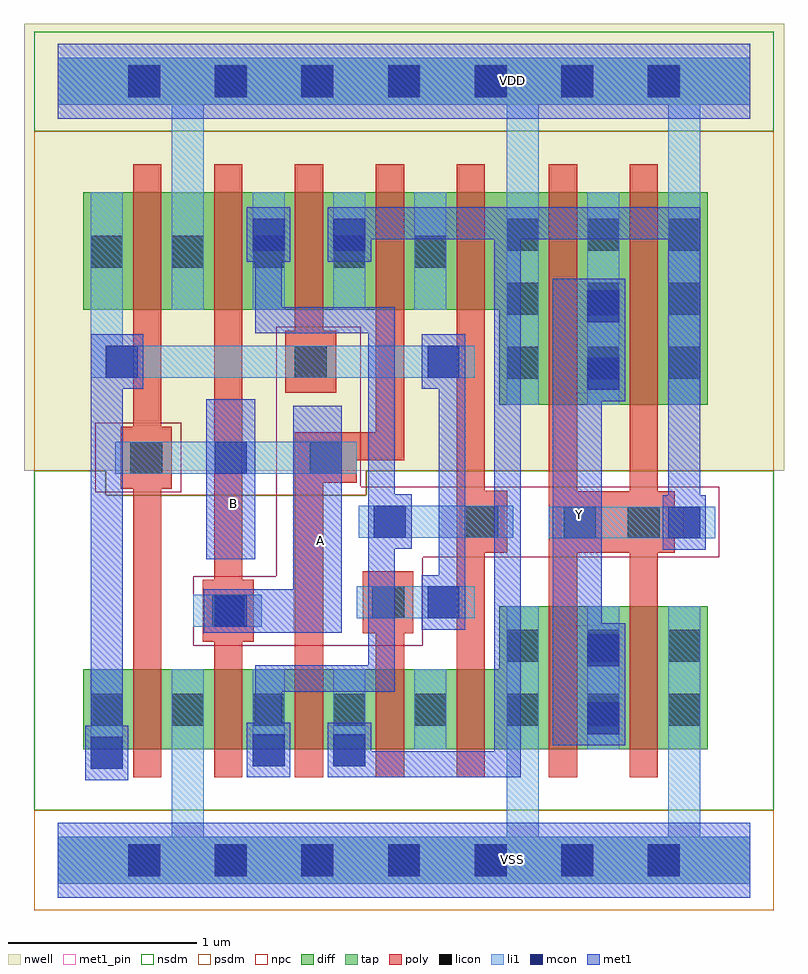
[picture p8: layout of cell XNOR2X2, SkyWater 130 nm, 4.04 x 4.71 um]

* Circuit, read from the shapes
.subckt XNOR2X2 A B VDD VSS Y
XM1 VSS B n1 VSS sky130_fd_pr__nfet_01v8 w=0.425 l=0.15
XM2 n2 A VSS VSS sky130_fd_pr__nfet_01v8 w=0.425 l=0.15
XM3 n3 B n2 VSS sky130_fd_pr__nfet_01v8 w=0.425 l=0.15
XM4 n4 n1 n3 VSS sky130_fd_pr__nfet_01v8 w=0.425 l=0.15
XM5 VSS n2 n4 VSS sky130_fd_pr__nfet_01v8 w=0.425 l=0.15
XM6 Y n3 VSS VSS sky130_fd_pr__nfet_01v8 w=0.76 l=0.15 m=2
XM7 VDD B n1 VDD sky130_fd_pr__pfet_01v8 w=0.625 l=0.15
XM8 n2 A VDD VDD sky130_fd_pr__pfet_01v8 w=0.625 l=0.15
XM9 n3 n1 n2 VDD sky130_fd_pr__pfet_01v8 w=0.625 l=0.15
XM10 n5 B n3 VDD sky130_fd_pr__pfet_01v8 w=0.625 l=0.15
XM11 VDD n2 n5 VDD sky130_fd_pr__pfet_01v8 w=0.625 l=0.15
XM12 Y n3 VDD VDD sky130_fd_pr__pfet_01v8 w=1.13 l=0.15 m=2
.ends

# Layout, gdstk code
from math import pi, radians
import gdstk
lib = gdstk.Library(unit=1e-6, precision=1e-09)
def R(c, l, rs):  # rectangles x0, y0, x1, y1
    for r in rs: c.add(gdstk.rectangle(r[:2], r[2:], *l))
def A(c, l, x, y, w, h, nx, ny, dx, dy):  # array of equal rectangles
    R(c, l, [(x+i*dx, y+j*dy, x+i*dx+w, y+j*dy+h) for i in range(nx) for j in range(ny)])
def P(c, l, *ps):  # polygons
    for p in ps: c.add(gdstk.Polygon(p, *l))
nwell = (64, 20)
diff = (65, 20)
tap = (65, 44)
poly = (66, 20)
licon = (66, 44)
li1 = (67, 20)
mcon = (67, 44)
met1_pin = (68, 16)
met1 = (68, 20)
nsdm = (93, 44)
psdm = (94, 20)
npc = (95, 20)

nfet_01v8_cdns_715785618 = lib.new_cell('nfet_01v8_CDNS_7157856182047')
R(nfet_01v8_cdns_715785618, diff, [(-0.075,0,0,0.425), (0,0,0.15,0.425), (0.15,0,0.375,0.425)])
R(nfet_01v8_cdns_715785618, poly, [(0,-0.15,0.15,-0.095), (0,-0.095,0.15,0), (0,0,0.15,0.425), (0,0.425,0.15,0.52), (0,0.52,0.15,0.575)])
R(nfet_01v8_cdns_715785618, nsdm, [(0.045,-0.13,0.385,0.555)])

c_nfet_01v8_cdns_715785618 = lib.new_cell('nfet_01v8_CDNS_7157856182028')
R(c_nfet_01v8_cdns_715785618, diff, [(-0.265,0,0,0.76), (0,0,0.15,0.76), (0.15,0,0.43,0.76), (0.43,0,0.58,0.76), (0.58,0,0.845,0.76)])
R(c_nfet_01v8_cdns_715785618, poly, [(0,-0.15,0.15,-0.095), (0.43,-0.15,0.58,-0.095), (0,-0.095,0.15,0), (0.43,-0.095,0.58,0), (0,0,0.15,0.76), (0.43,0,0.58,0.76), (0,0.76,0.15,0.855), (0.43,0.76,0.58,0.855), (0,0.855,0.15,0.91), (0.43,0.855,0.58,0.91)])
A(c_nfet_01v8_cdns_715785618, licon, -0.225, 0.125, 0.17, 0.17, 3, 2, 0.43, 0.34)
A(c_nfet_01v8_cdns_715785618, li1, -0.225, 0, 0.17, 0.76, 3, 1, 0.43, 0)
R(c_nfet_01v8_cdns_715785618, nsdm, [(-0.405,-0.13,0.985,0.89)])

pfet_01v8_cdns_715785618 = lib.new_cell('pfet_01v8_CDNS_7157856182017')
R(pfet_01v8_cdns_715785618, nwell, [(-0.235,-0.18,0.595,0.805)])
R(pfet_01v8_cdns_715785618, diff, [(-0.055,0,0,0.625), (0,0,0.15,0.625), (0.15,0,0.415,0.625)])
R(pfet_01v8_cdns_715785618, poly, [(0,-0.15,0.15,-0.095), (0,-0.095,0.15,0), (0,0,0.15,0.625), (0,0.625,0.15,0.72), (0,0.72,0.15,0.775)])
R(pfet_01v8_cdns_715785618, licon, [(0.205,0.225,0.375,0.395)])
R(pfet_01v8_cdns_715785618, li1, [(0.205,0,0.375,0.625)])
R(pfet_01v8_cdns_715785618, psdm, [(-0.065,-0.13,0.555,0.755)])

c_pfet_01v8_cdns_715785618 = lib.new_cell('pfet_01v8_CDNS_7157856182037')
R(c_pfet_01v8_cdns_715785618, nwell, [(-0.405,-0.18,0.385,0.805)])
R(c_pfet_01v8_cdns_715785618, diff, [(-0.225,0,0,0.625), (0,0,0.15,0.625), (0.15,0,0.205,0.625)])
R(c_pfet_01v8_cdns_715785618, poly, [(0,-0.15,0.15,-0.095), (0,-0.095,0.15,0), (0,0,0.15,0.625), (0,0.625,0.15,0.72), (0,0.72,0.15,0.775)])
R(c_pfet_01v8_cdns_715785618, licon, [(-0.225,0.225,-0.055,0.395)])
R(c_pfet_01v8_cdns_715785618, li1, [(-0.225,0,-0.055,0.625)])
R(c_pfet_01v8_cdns_715785618, psdm, [(-0.235,-0.13,0.215,0.755)])

c_pfet_01v8_cdns_715785618_ = lib.new_cell('pfet_01v8_CDNS_7157856182048')
R(c_pfet_01v8_cdns_715785618_, nwell, [(-0.405,-0.18,0.385,0.805)])
R(c_pfet_01v8_cdns_715785618_, diff, [(-0.225,0,0,0.625), (0,0,0.15,0.625), (0.15,0,0.205,0.625)])
R(c_pfet_01v8_cdns_715785618_, poly, [(0,-0.15,0.15,-0.095), (0,-0.095,0.15,0), (0,0,0.15,0.625), (0,0.625,0.15,0.72), (0,0.72,0.15,0.775)])
R(c_pfet_01v8_cdns_715785618_, licon, [(-0.225,0.225,-0.055,0.395)])
R(c_pfet_01v8_cdns_715785618_, li1, [(-0.225,0,-0.055,0.625)])
R(c_pfet_01v8_cdns_715785618_, psdm, [(-0.235,-0.13,0.215,0.755)])

c_pfet_01v8_cdns_715785618__ = lib.new_cell('pfet_01v8_CDNS_7157856182023')
R(c_pfet_01v8_cdns_715785618__, nwell, [(-0.445,-0.18,1.025,1.31)])
R(c_pfet_01v8_cdns_715785618__, diff, [(-0.265,0,0,1.13), (0,0,0.15,1.13), (0.15,0,0.43,1.13), (0.43,0,0.58,1.13), (0.58,0,0.845,1.13)])
R(c_pfet_01v8_cdns_715785618__, poly, [(0,-0.15,0.15,-0.095), (0.43,-0.15,0.58,-0.095), (0,-0.095,0.15,0), (0.43,-0.095,0.58,0), (0,0,0.15,1.13), (0.43,0,0.58,1.13), (0,1.13,0.15,1.225), (0.43,1.13,0.58,1.225), (0,1.225,0.15,1.28), (0.43,1.225,0.58,1.28)])
A(c_pfet_01v8_cdns_715785618__, licon, -0.225, 0.14, 0.17, 0.17, 3, 3, 0.43, 0.34)
A(c_pfet_01v8_cdns_715785618__, li1, -0.225, 0, 0.17, 1.13, 3, 1, 0.43, 0)
R(c_pfet_01v8_cdns_715785618__, psdm, [(-0.405,-0.13,0.985,1.26)])

c_nfet_01v8_cdns_715785618_ = lib.new_cell('nfet_01v8_CDNS_7157856182030')
R(c_nfet_01v8_cdns_715785618_, diff, [(-0.055,0,0,0.425), (0,0,0.15,0.425), (0.15,0,0.375,0.425)])
R(c_nfet_01v8_cdns_715785618_, poly, [(0,-0.15,0.15,-0.095), (0,-0.095,0.15,0), (0,0,0.15,0.425), (0,0.425,0.15,0.52), (0,0.52,0.15,0.575)])
R(c_nfet_01v8_cdns_715785618_, licon, [(0.205,0.125,0.375,0.295)])
R(c_nfet_01v8_cdns_715785618_, li1, [(0.205,0,0.375,0.425)])
R(c_nfet_01v8_cdns_715785618_, nsdm, [(-0.065,-0.13,0.385,0.555)])

c_nfet_01v8_cdns_715785618__ = lib.new_cell('nfet_01v8_CDNS_715785618208')
R(c_nfet_01v8_cdns_715785618__, diff, [(-0.055,0,0,0.425), (0,0,0.15,0.425), (0.15,0,0.415,0.425)])
R(c_nfet_01v8_cdns_715785618__, poly, [(0,-0.15,0.15,-0.095), (0,-0.095,0.15,0), (0,0,0.15,0.425), (0,0.425,0.15,0.52), (0,0.52,0.15,0.575)])
R(c_nfet_01v8_cdns_715785618__, licon, [(0.205,0.125,0.375,0.295)])
R(c_nfet_01v8_cdns_715785618__, li1, [(0.205,0,0.375,0.425)])
R(c_nfet_01v8_cdns_715785618__, nsdm, [(-0.065,-0.13,0.555,0.555)])

c_nfet_01v8_cdns_715785618___ = lib.new_cell('nfet_01v8_CDNS_7157856182024')
R(c_nfet_01v8_cdns_715785618___, diff, [(-0.225,0,0,0.425), (0,0,0.15,0.425), (0.15,0,0.205,0.425)])
R(c_nfet_01v8_cdns_715785618___, poly, [(0,-0.15,0.15,-0.095), (0,-0.095,0.15,0), (0,0,0.15,0.425), (0,0.425,0.15,0.52), (0,0.52,0.15,0.575)])
R(c_nfet_01v8_cdns_715785618___, licon, [(-0.225,0.125,-0.055,0.295)])
R(c_nfet_01v8_cdns_715785618___, li1, [(-0.225,0,-0.055,0.425)])
R(c_nfet_01v8_cdns_715785618___, nsdm, [(-0.235,-0.13,0.215,0.555)])

c_pfet_01v8_cdns_715785618___ = lib.new_cell('pfet_01v8_CDNS_7157856182049')
R(c_pfet_01v8_cdns_715785618___, nwell, [(-0.405,-0.18,0.385,0.805)])
R(c_pfet_01v8_cdns_715785618___, diff, [(-0.225,0,0,0.625), (0,0,0.15,0.625), (0.15,0,0.205,0.625)])
R(c_pfet_01v8_cdns_715785618___, poly, [(0,-0.15,0.15,-0.095), (0,-0.095,0.15,0), (0,0,0.15,0.625), (0,0.625,0.15,0.72), (0,0.72,0.15,0.775)])
R(c_pfet_01v8_cdns_715785618___, licon, [(-0.225,0.225,-0.055,0.395)])
R(c_pfet_01v8_cdns_715785618___, li1, [(-0.225,0,-0.055,0.625)])
R(c_pfet_01v8_cdns_715785618___, psdm, [(-0.235,-0.13,0.215,0.755)])

c_nfet_01v8_cdns_715785618____ = lib.new_cell('nfet_01v8_CDNS_7157856182050')
R(c_nfet_01v8_cdns_715785618____, diff, [(-0.225,0,0,0.425), (0,0,0.15,0.425), (0.15,0,0.205,0.425)])
R(c_nfet_01v8_cdns_715785618____, poly, [(0,-0.15,0.15,-0.095), (0,-0.095,0.15,0), (0,0,0.15,0.425), (0,0.425,0.15,0.52), (0,0.52,0.15,0.575)])
R(c_nfet_01v8_cdns_715785618____, licon, [(-0.225,0.125,-0.055,0.295)])
R(c_nfet_01v8_cdns_715785618____, li1, [(-0.225,0,-0.055,0.425)])
R(c_nfet_01v8_cdns_715785618____, nsdm, [(-0.235,-0.13,0.215,0.555)])

c_pfet_01v8_cdns_715785618____ = lib.new_cell('pfet_01v8_CDNS_7157856182051')
R(c_pfet_01v8_cdns_715785618____, nwell, [(-0.255,-0.18,0.555,0.805)])
R(c_pfet_01v8_cdns_715785618____, diff, [(-0.075,0,0,0.625), (0,0,0.15,0.625), (0.15,0,0.375,0.625)])
R(c_pfet_01v8_cdns_715785618____, poly, [(0,-0.15,0.15,-0.095), (0,-0.095,0.15,0), (0,0,0.15,0.625), (0,0.625,0.15,0.72), (0,0.72,0.15,0.775)])
R(c_pfet_01v8_cdns_715785618____, psdm, [(0.045,-0.13,0.385,0.755)])

l1m1_c_cdns_715785618207 = lib.new_cell('L1M1_C_CDNS_715785618207')
R(l1m1_c_cdns_715785618207, li1, [(-0.165,-0.085,0.165,0.085)])
R(l1m1_c_cdns_715785618207, mcon, [(-0.085,-0.085,0.085,0.085)])
R(l1m1_c_cdns_715785618207, met1, [(-0.145,-0.115,0.145,0.115)])

pyl1con_c_cdns_715785618 = lib.new_cell('PYL1CON_C_CDNS_715785618200')
R(pyl1con_c_cdns_715785618, poly, [(-0.135,-0.165,0.135,0.165)])
R(pyl1con_c_cdns_715785618, licon, [(-0.085,-0.085,0.085,0.085)])
R(pyl1con_c_cdns_715785618, npc, [(-0.185,-0.185,0.185,0.185)])

l1m1_c_cdns_715785618202 = lib.new_cell('L1M1_C_CDNS_715785618202')
R(l1m1_c_cdns_715785618202, li1, [(-0.085,-0.165,0.085,0.165)])
R(l1m1_c_cdns_715785618202, mcon, [(-0.085,-0.085,0.085,0.085)])
R(l1m1_c_cdns_715785618202, met1, [(-0.115,-0.145,0.115,0.145)])

l1m1_c_cdns_715785618205 = lib.new_cell('L1M1_C_CDNS_715785618205')
R(l1m1_c_cdns_715785618205, li1, [(-0.085,-0.345,0.085,0.345)])
R(l1m1_c_cdns_715785618205, mcon, [(-0.085,-0.265,0.085,-0.095), (-0.085,0.095,0.085,0.265)])
R(l1m1_c_cdns_715785618205, met1, [(-0.115,-0.325,0.115,0.325)])

licondiff_c_cdns_7157856 = lib.new_cell('LICONDIFF_C_CDNS_7157856182013')
R(licondiff_c_cdns_7157856, diff, [(-0.125,-0.145,0.125,0.145)])
R(licondiff_c_cdns_7157856, licon, [(-0.085,-0.085,0.085,0.085), (-0.085,-0.085,0.085,0.085)])

l1m1_c_cdns_715785618203 = lib.new_cell('L1M1_C_CDNS_715785618203')
R(l1m1_c_cdns_715785618203, li1, [(-0.165,-0.085,0.165,0.085)])
R(l1m1_c_cdns_715785618203, mcon, [(-0.085,-0.085,0.085,0.085)])
R(l1m1_c_cdns_715785618203, met1, [(-0.115,-0.145,0.115,0.145)])

l1m1_c_cdns_715785618201 = lib.new_cell('L1M1_C_CDNS_7157856182010')
R(l1m1_c_cdns_715785618201, li1, [(-0.085,-0.085,0.085,0.165)])
R(l1m1_c_cdns_715785618201, mcon, [(-0.085,-0.085,0.085,0.085)])
R(l1m1_c_cdns_715785618201, met1, [(-0.115,-0.145,0.115,0.145)])

c_pyl1con_c_cdns_715785618 = lib.new_cell('PYL1CON_C_CDNS_7157856182017')
R(c_pyl1con_c_cdns_715785618, poly, [(-0.165,-0.135,0.165,0.135)])
R(c_pyl1con_c_cdns_715785618, licon, [(-0.085,-0.085,0.085,0.085)])
R(c_pyl1con_c_cdns_715785618, npc, [(-0.185,-0.185,0.185,0.185)])

c_l1m1_c_cdns_715785618201 = lib.new_cell('L1M1_C_CDNS_7157856182018')
R(c_l1m1_c_cdns_715785618201, li1, [(-0.085,-0.06,0.085,0.19)])
R(c_l1m1_c_cdns_715785618201, mcon, [(-0.085,-0.06,0.085,0.11)])
R(c_l1m1_c_cdns_715785618201, met1, [(-0.115,-0.12,0.115,0.17)])

xnor2x2 = lib.new_cell('XNOR2X2')
R(xnor2x2, nwell, [(-0.18,2.07,3.86,4.305), (-0.18,3.875,3.86,4.445)])
R(xnor2x2, poly, [(2.61,1.635,3.28,1.96), (2.61,1.66,3.28,1.93)])
A(xnor2x2, licon, 0.375, -0.085, 0.17, 0.17, 7, 2, 0.46, 4.14)
A(xnor2x2, mcon, 0.375, -0.085, 0.17, 0.17, 7, 2, 0.46, 4.14)
R(xnor2x2, met1_pin, [(1.25,1.21,1.51,2.415), (2.63,1.245,2.89,2.485), (0.79,1.6,1.05,2.45)])
R(xnor2x2, nsdm, [(-0.125,3.875,3.805,4.405), (-0.125,3.93,3.805,4.35)])
P(xnor2x2, nsdm, [(3.805,2.07),(1.64,2.07),(1.64,1.94),(0.255,1.94),(0.255,2.07),(-0.125,2.07),(-0.125,0.265),(3.805,0.265)])
R(xnor2x2, psdm, [(-0.125,-0.265,3.805,0.265), (-0.125,-0.21,3.805,0.21)])
P(xnor2x2, psdm, [(3.805,3.875),(-0.125,3.875),(-0.125,2.07),(0.255,2.07),(0.255,1.94),(1.64,1.94),(1.64,2.07),(3.805,2.07)])
R(xnor2x2, npc, [(0.2,1.955,0.57,2.325), (1.16,1.955,1.61,2.835)])
P(xnor2x2, npc, [(3.515,1.985),(1.61,1.985),(1.61,2.325),(1.16,2.325),(1.16,1.51),(0.72,1.51),(0.72,1.14),(1.94,1.14),(1.94,1.61),(3.515,1.61)])
xnor2x2.add(gdstk.FlexPath([(2.685,2.27),(2.685,1.5)], 0.15, ends="flush", simple_path=True, layer=66, datatype=20))  # poly
xnor2x2.add(gdstk.FlexPath([(0.905,2.775),(0.905,1.165)], 0.15, ends="flush", simple_path=True, layer=66, datatype=20))  # poly
xnor2x2.add(gdstk.FlexPath([(1.765,1.245),(1.765,1.165)], 0.15, ends="flush", simple_path=True, layer=66, datatype=20))  # poly
xnor2x2.add(gdstk.FlexPath([(1.765,1.37),(1.765,1.245)], 0.15, ends="flush", simple_path=True, layer=66, datatype=20))  # poly
xnor2x2.add(gdstk.FlexPath([(1.765,2.2),(1.765,2.775)], 0.15, ends=(0.075, 0), simple_path=True, layer=66, datatype=20))  # poly
xnor2x2.add(gdstk.FlexPath([(1.335,2.2),(1.765,2.2)], 0.15, ends="extended", simple_path=True, layer=66, datatype=20))  # poly
xnor2x2.add(gdstk.FlexPath([(1.335,1.165),(1.335,2.2)], 0.15, ends=(0, 0.075), simple_path=True, layer=66, datatype=20))  # poly
xnor2x2.add(gdstk.FlexPath([(3.115,2.27),(3.115,1.5)], 0.15, ends="flush", simple_path=True, layer=66, datatype=20))  # poly
xnor2x2.add(gdstk.FlexPath([(2.195,2.775),(2.195,1.165)], 0.15, ends="flush", simple_path=True, layer=66, datatype=20))  # poly
xnor2x2.add(gdstk.FlexPath([(0.475,2.775),(0.475,1.165)], 0.15, ends="flush", simple_path=True, layer=66, datatype=20))  # poly
xnor2x2.add(gdstk.FlexPath([(3.33,1.795),(2.685,1.795)], 0.17, ends="flush", simple_path=True, layer=66, datatype=20))  # poly
xnor2x2.add(gdstk.FlexPath([(0.26,2.925),(0.26,2.65)], 0.17, ends=(0, 0.085), simple_path=True, layer=67, datatype=20))  # li1
xnor2x2.add(gdstk.FlexPath([(1.98,2.925),(1.98,3.55)], 0.17, ends="flush", simple_path=True, layer=67, datatype=20))  # li1
xnor2x2.add(gdstk.FlexPath([(1.98,0.59),(1.98,1.015)], 0.17, ends="flush", simple_path=True, layer=67, datatype=20))  # li1
xnor2x2.add(gdstk.FlexPath([(2.61,1.795),(3.28,1.795)], 0.17, ends="flush", simple_path=True, layer=67, datatype=20))  # li1
xnor2x2.add(gdstk.FlexPath([(1.18,2.65),(1.935,2.65)], 0.17, ends="flush", simple_path=True, layer=67, datatype=20))  # li1
xnor2x2.add(gdstk.FlexPath([(1.765,1.37),(1.59,1.37)], 0.17, ends="flush", simple_path=True, layer=67, datatype=20))  # li1
xnor2x2.add(gdstk.FlexPath([(1.955,1.37),(1.71,1.37)], 0.17, ends="flush", simple_path=True, layer=67, datatype=20))  # li1
xnor2x2.add(gdstk.FlexPath([(1.12,3.435),(1.12,3.385)], 0.17, ends="flush", simple_path=True, layer=67, datatype=20))  # li1
xnor2x2.add(gdstk.FlexPath([(0.26,3.415),(0.26,3.385)], 0.17, ends="flush", simple_path=True, layer=67, datatype=20))  # li1
xnor2x2.add(gdstk.FlexPath([(1.59,2.14),(0.305,2.14)], 0.17, ends="flush", simple_path=True, layer=67, datatype=20))  # li1
xnor2x2.add(gdstk.FlexPath([(1.6,1.8),(2.42,1.8)], 0.17, ends="flush", simple_path=True, layer=67, datatype=20))  # li1
xnor2x2.add(gdstk.FlexPath([(0.26,2.65),(1.18,2.65)], 0.17, ends=(0.085, 0), simple_path=True, layer=67, datatype=20))  # li1
xnor2x2.add(gdstk.FlexPath([(0.72,1.325),(1.07,1.325)], 0.17, ends="flush", simple_path=True, layer=67, datatype=20))  # li1
xnor2x2.add(gdstk.FlexPath([(2.47,0),(3.42,0)], 0.25, ends=(0.085, 0.085), simple_path=True, layer=67, datatype=20))  # li1
xnor2x2.add(gdstk.FlexPath([(3.42,0),(3.595,0)], 0.25, ends=(0.085, 0.085), simple_path=True, layer=67, datatype=20))  # li1
xnor2x2.add(gdstk.FlexPath([(0.69,0),(2.47,0)], 0.25, ends=(0.085, 0.085), simple_path=True, layer=67, datatype=20))  # li1
xnor2x2.add(gdstk.FlexPath([(3.595,0),(3.68,0)], 0.25, ends=(0.085, 0), simple_path=True, layer=67, datatype=20))  # li1
xnor2x2.add(gdstk.FlexPath([(0,0),(0.69,0)], 0.25, ends=(0, 0.085), simple_path=True, layer=67, datatype=20))  # li1
xnor2x2.add(gdstk.FlexPath([(2.47,4.14),(3.42,4.14)], 0.25, ends=(0.085, 0.085), simple_path=True, layer=67, datatype=20))  # li1
xnor2x2.add(gdstk.FlexPath([(0,4.14),(0.69,4.14)], 0.25, ends=(0, 0.085), simple_path=True, layer=67, datatype=20))  # li1
xnor2x2.add(gdstk.FlexPath([(3.42,4.14),(3.595,4.14)], 0.25, ends=(0.085, 0.085), simple_path=True, layer=67, datatype=20))  # li1
xnor2x2.add(gdstk.FlexPath([(0.69,4.14),(2.47,4.14)], 0.25, ends=(0.085, 0.085), simple_path=True, layer=67, datatype=20))  # li1
xnor2x2.add(gdstk.FlexPath([(3.595,4.14),(3.68,4.14)], 0.25, ends=(0.085, 0), simple_path=True, layer=67, datatype=20))  # li1
xnor2x2.add(gdstk.FlexPath([(3.33,3.55),(3.33,4.14)], 0.17, ends="flush", simple_path=True, layer=67, datatype=20))  # li1
xnor2x2.add(gdstk.FlexPath([(2.47,3.55),(2.47,4.14)], 0.17, ends=(0, 0.085), simple_path=True, layer=67, datatype=20))  # li1
xnor2x2.add(gdstk.FlexPath([(2.47,4.14),(0.215,4.14)], 0.17, ends=(0.085, 0), simple_path=True, layer=67, datatype=20))  # li1
xnor2x2.add(gdstk.FlexPath([(2.47,0.59),(2.47,0)], 0.17, ends="flush", simple_path=True, layer=67, datatype=20))  # li1
xnor2x2.add(gdstk.FlexPath([(3.33,0.59),(3.33,0)], 0.17, ends="flush", simple_path=True, layer=67, datatype=20))  # li1
xnor2x2.add(gdstk.FlexPath([(0.69,3.55),(0.69,4.14)], 0.17, ends="flush", simple_path=True, layer=67, datatype=20))  # li1
xnor2x2.add(gdstk.FlexPath([(0.69,0.59),(0.69,0)], 0.17, ends="flush", simple_path=True, layer=67, datatype=20))  # li1
xnor2x2.add(gdstk.FlexPath([(2.39,0.51),(2.39,3.385)], 0.14, ends=(0.07, 0.085), simple_path=True, layer=68, datatype=20))  # met1
xnor2x2.add(gdstk.FlexPath([(1.54,0.51),(2.39,0.51)], 0.14, ends=(0, 0.07), simple_path=True, layer=68, datatype=20))  # met1
xnor2x2.add(gdstk.FlexPath([(2.725,3.385),(2.42,3.385)], 0.17, ends="flush", simple_path=True, layer=68, datatype=20))  # met1
xnor2x2.add(gdstk.FlexPath([(1.12,3.325),(1.12,2.87)], 0.14, ends=(0, 0.07), simple_path=True, layer=68, datatype=20))  # met1
xnor2x2.add(gdstk.FlexPath([(1.12,2.87),(1.72,2.87)], 0.14, ends="extended", simple_path=True, layer=68, datatype=20))  # met1
xnor2x2.add(gdstk.FlexPath([(1.72,2.87),(1.72,0.965)], 0.14, ends="extended", simple_path=True, layer=68, datatype=20))  # met1
xnor2x2.add(gdstk.FlexPath([(2.095,1.37),(2.095,2.65)], 0.14, ends="flush", simple_path=True, layer=68, datatype=20))  # met1
xnor2x2.add(gdstk.FlexPath([(1.55,3.385),(3.33,3.385)], 0.17, ends=(0.07, 0.085), simple_path=True, layer=68, datatype=20))  # met1
xnor2x2.add(gdstk.FlexPath([(3.33,3.385),(3.33,1.795)], 0.17, ends=(0.085, 0), simple_path=True, layer=68, datatype=20))  # met1
xnor2x2.add(gdstk.FlexPath([(1.38,1.325),(0.92,1.325)], 0.23, ends="flush", simple_path=True, layer=68, datatype=20))  # met1
xnor2x2.add(gdstk.FlexPath([(1.12,0.965),(1.12,0.585)], 0.14, ends=(0.07, 0), simple_path=True, layer=68, datatype=20))  # met1
xnor2x2.add(gdstk.FlexPath([(0.26,2.795),(0.26,0.425)], 0.17, ends="flush", simple_path=True, layer=68, datatype=20))  # met1
xnor2x2.add(gdstk.FlexPath([(1.72,0.965),(1.12,0.965)], 0.14, ends="extended", simple_path=True, layer=68, datatype=20))  # met1
xnor2x2.add(gdstk.FlexPath([(1.38,1.21),(1.38,2.415)], 0.26, ends="flush", simple_path=True, layer=68, datatype=20))  # met1
xnor2x2.add(gdstk.FlexPath([(2.76,0.61),(2.76,3.09)], 0.26, ends="flush", simple_path=True, layer=68, datatype=20))  # met1
xnor2x2.add(gdstk.FlexPath([(0.92,1.6),(0.92,2.45)], 0.26, ends="flush", simple_path=True, layer=68, datatype=20))  # met1
xnor2x2.add(gdstk.FlexPath([(2.375,3.385),(2.39,3.385)], 0.17, ends=(0, 0.07), simple_path=True, layer=68, datatype=20))  # met1
xnor2x2.add(gdstk.FlexPath([(0,0),(3.68,0)], 0.4, ends="flush", simple_path=True, layer=68, datatype=20))  # met1
xnor2x2.add(gdstk.FlexPath([(0,4.14),(3.68,4.14)], 0.4, ends="flush", simple_path=True, layer=68, datatype=20))  # met1
xnor2x2.add(gdstk.FlexPath([(0,4.14),(3.68,4.14)], 0.25, ends="flush", simple_path=True, layer=65, datatype=44))  # tap
xnor2x2.add(gdstk.FlexPath([(0,0),(3.68,0)], 0.25, ends="flush", simple_path=True, layer=65, datatype=44))  # tap
xnor2x2.add(gdstk.FlexPath([(0,4.14),(3.68,4.14)], 0.4, ends="flush", simple_path=True, layer=68, datatype=16))  # met1_pin
xnor2x2.add(gdstk.FlexPath([(0,0),(3.68,0)], 0.4, ends="flush", simple_path=True, layer=68, datatype=16))  # met1_pin
xnor2x2.add(gdstk.Reference(nfet_01v8_cdns_715785618, (2.27,0.59), rotation=pi, x_reflection=True))
xnor2x2.add(gdstk.Reference(c_nfet_01v8_cdns_715785618, (2.61,0.59)))
xnor2x2.add(gdstk.Reference(pfet_01v8_cdns_715785618, (0.55,2.925), rotation=pi, x_reflection=True))
xnor2x2.add(gdstk.Reference(c_pfet_01v8_cdns_715785618, (1.26,2.925)))
xnor2x2.add(gdstk.Reference(c_pfet_01v8_cdns_715785618_, (0.83,2.925)))
xnor2x2.add(gdstk.Reference(c_pfet_01v8_cdns_715785618__, (2.61,2.42)))
xnor2x2.add(gdstk.Reference(c_nfet_01v8_cdns_715785618_, (1.84,0.59), rotation=pi, x_reflection=True))
xnor2x2.add(gdstk.Reference(c_nfet_01v8_cdns_715785618__, (0.55,0.59), rotation=pi, x_reflection=True))
xnor2x2.add(gdstk.Reference(c_nfet_01v8_cdns_715785618___, (1.26,0.59)))
xnor2x2.add(gdstk.Reference(c_pfet_01v8_cdns_715785618___, (1.69,2.925)))
xnor2x2.add(gdstk.Reference(c_nfet_01v8_cdns_715785618____, (0.83,0.59)))
xnor2x2.add(gdstk.Reference(c_pfet_01v8_cdns_715785618____, (2.27,2.925), rotation=pi, x_reflection=True))
xnor2x2.add(gdstk.Reference(l1m1_c_cdns_715785618207, (0.92,1.325), x_reflection=True))
xnor2x2.add(gdstk.Reference(pyl1con_c_cdns_715785618, (3.115,1.795), rotation=3*pi/2, x_reflection=True))
xnor2x2.add(gdstk.Reference(pyl1con_c_cdns_715785618, (2.775,1.795), rotation=3*pi/2, x_reflection=True))
xnor2x2.add(gdstk.Reference(pyl1con_c_cdns_715785618, (0.905,1.325), x_reflection=True))
xnor2x2.add(gdstk.Reference(pyl1con_c_cdns_715785618, (2.255,1.8), x_reflection=True))
xnor2x2.add(gdstk.Reference(pyl1con_c_cdns_715785618, (0.47,2.14), x_reflection=True))
xnor2x2.add(gdstk.Reference(pyl1con_c_cdns_715785618, (1.755,1.37), x_reflection=True))
xnor2x2.add(gdstk.Reference(pyl1con_c_cdns_715785618, (1.345,2.65), x_reflection=True))
xnor2x2.add(gdstk.Reference(l1m1_c_cdns_715785618202, (1.12,3.325)))
xnor2x2.add(gdstk.Reference(l1m1_c_cdns_715785618202, (1.55,3.325)))
xnor2x2.add(gdstk.Reference(l1m1_c_cdns_715785618205, (2.9,2.765)))
xnor2x2.add(gdstk.Reference(l1m1_c_cdns_715785618205, (2.9,0.935)))
xnor2x2.add(gdstk.Reference(licondiff_c_cdns_7157856, (1.98,3.235)))
xnor2x2.add(gdstk.Reference(licondiff_c_cdns_7157856, (1.98,0.8)))
xnor2x2.add(gdstk.Reference(l1m1_c_cdns_715785618203, (0.92,2.14), x_reflection=True))
xnor2x2.add(gdstk.Reference(l1m1_c_cdns_715785618203, (0.34,2.65)))
xnor2x2.add(gdstk.Reference(l1m1_c_cdns_715785618203, (1.765,1.8)))
xnor2x2.add(gdstk.Reference(l1m1_c_cdns_715785618203, (2.05,2.65)))
xnor2x2.add(gdstk.Reference(l1m1_c_cdns_715785618203, (2.05,1.37)))
xnor2x2.add(gdstk.Reference(l1m1_c_cdns_715785618203, (3.33,1.795)))
xnor2x2.add(gdstk.Reference(l1m1_c_cdns_715785618201, (1.12,0.585)))
xnor2x2.add(gdstk.Reference(l1m1_c_cdns_715785618201, (1.55,0.585)))
xnor2x2.add(gdstk.Reference(c_pyl1con_c_cdns_715785618, (1.425,2.14), x_reflection=True))
xnor2x2.add(gdstk.Reference(c_l1m1_c_cdns_715785618201, (0.26,0.545)))
xnor2x2.add(gdstk.Label('VDD', (2.415,4.145), layer=68, texttype=16))
xnor2x2.add(gdstk.Label('B', (0.935,1.895), layer=68, texttype=16))
xnor2x2.add(gdstk.Label('Y', (2.775,1.84), layer=68, texttype=16))
xnor2x2.add(gdstk.Label('A', (1.395,1.7), layer=68, texttype=16))
xnor2x2.add(gdstk.Label('VSS', (2.415,0.005), layer=68, texttype=16))

lib.write_gds('XNOR2X2.gds')
